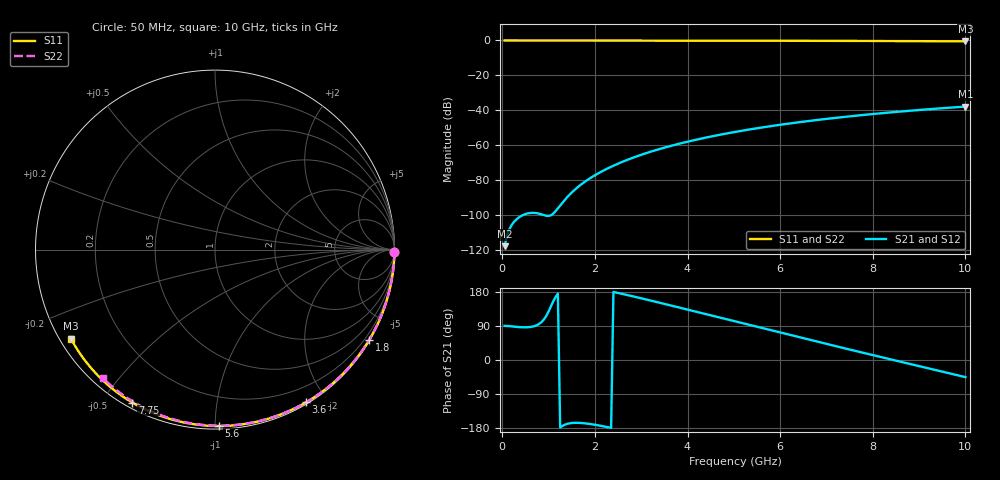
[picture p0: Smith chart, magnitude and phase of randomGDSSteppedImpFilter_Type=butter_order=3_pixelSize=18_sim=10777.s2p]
! freq	dB(S11)	phase(S11)	dB(S12)	phase(S12)
!  dB(S21)	phase(S21)	dB(S22)	phase(S22)
!S-par simulation data
#  GHz  S  DB  R 50
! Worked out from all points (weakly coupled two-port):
!   200 points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, 50 MHz to 10 GHz, reference 50 ohm
!   highest |S21| = -37.80 dB at 10 GHz (marker M1); lowest = -117.6 dB at 50 MHz (marker M2)
!   lowest |S11| = -0.5 dB at 10 GHz (marker M3), VSWR 34.51, Z = 1.57 - j14.2 ohm
!   |S11| at or under -10 dB: nowhere
!   |S22| runs from -0.4 to 0.0 dB; largest |S21 - S12| = 0
!   S11 on the Smith chart (normalised r, x): 50 MHz: open; 1.8 GHz: 0.03, -3.69; 3.6 GHz: 0.02, -1.76; 5.6 GHz: 0.02, -1.02; 7.75 GHz: 0.02, -0.60; 10 GHz: 0.03, -0.28
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0.05  -0.00 -0.9  -117.60 90.1  -117.60 90.1  -0.00 -0.8
0.45  -0.01 -7.7  -99.75 86.3  -99.75 86.3  -0.01 -6.8
0.9  -0.02 -15.3  -99.86 107.3  -99.86 107.3  -0.02 -13.6
1.3  -0.03 -22.0  -92.66 -173.9  -92.66 -173.9  -0.02 -19.5
1.75  -0.04 -29.5  -81.38 -166.7  -81.38 -166.7  -0.03 -26.1
1.8  -0.04 -30.3  -80.44 -167.4  -80.44 -167.4  -0.03 -26.9
1.85  -0.04 -31.1  -79.54 -168.1  -79.54 -168.1  -0.04 -27.6
2.05  -0.04 -34.4  -76.28 -171.9  -76.28 -171.9  -0.04 -30.5
2.2  -0.05 -36.9  -74.15 -175.4  -74.15 -175.4  -0.04 -32.7
2.55  -0.05 -42.6  -69.86 175.6  -69.86 175.6  -0.05 -37.7
2.95  -0.06 -49.0  -65.82 164.3  -65.82 164.3  -0.06 -43.4
3.4  -0.07 -56.0  -62.03 151.0  -62.03 151.0  -0.07 -49.7
3.6  -0.08 -59.2  -60.55 145.1  -60.55 145.1  -0.07 -52.5
4.3  -0.10 -69.8  -56.07 123.9  -56.07 123.9  -0.09 -62.1
5.05  -0.12 -80.9  -52.19 101.1  -52.19 101.1  -0.11 -72.0
5.6  -0.15 -88.9  -49.78 84.4  -49.78 84.4  -0.13 -79.1
6.15  -0.17 -96.6  -47.66 67.8  -47.66 67.8  -0.15 -86.0
6.7  -0.20 -104.2  -45.77 51.3  -45.77 51.3  -0.18 -92.8
7.75  -0.28 -118.4  -42.71 20.2  -42.71 20.2  -0.24 -105.3
8.35  -0.33 -126.4  -41.21 2.7  -41.21 2.7  -0.29 -112.3
9.2  -0.41 -137.6  -39.33 -22.0  -39.33 -22.0  -0.36 -122.0
10  -0.50 -148.2  -37.80 -45.2  -37.80 -45.2  -0.45 -131.0
